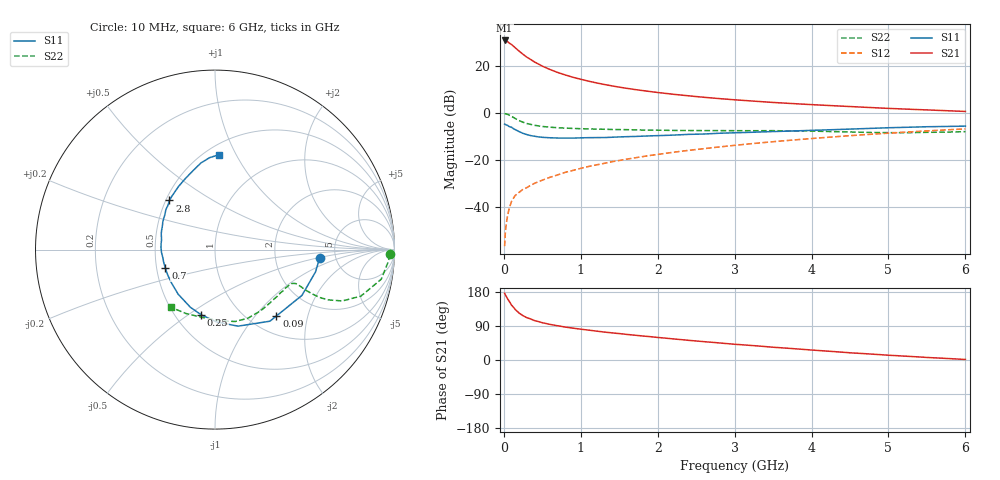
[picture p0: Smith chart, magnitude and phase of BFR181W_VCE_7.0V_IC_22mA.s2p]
! Infineon Technologies  Discrete & RF Semiconductors
! BFR181W
! VCE =  7.0 V,  IC =  22 mA
! Common Emitter S-Parameters:  Jan 2017
# GHz  S  MA  R  50
!  f  S11  S21  S12  S22
! GHz  MAG  ANG  MAG  ANG  MAG  ANG  MAG  ANG
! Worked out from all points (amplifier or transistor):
!   77 points, 10 MHz to 6 GHz, reference 50 ohm
!   highest |S21| = 30.8 dB at 10 MHz (marker M1)
!   |S21| within 3 dB of that: start of sweep to 145 MHz
!   unconditionally stable (mu >= 1): 658.9 MHz to 2.483 GHz
!   at 130 MHz: K = 0.42, MSG = 32.0 dB, |S12| = -35.9 dB
!   at 2.2 GHz: K = 1.03, MAG = 11.3 dB, |S12| = -16.6 dB
!   at 6 GHz: K = 0.82, MSG = 3.7 dB, |S12| = -6.7 dB
!   S11 on the Smith chart (normalised r, x): 10 MHz: 3.74, -0.53; 90 MHz: 1.31, -1.30; 250 MHz: 0.67, -0.56; 700 MHz: 0.56, -0.13; 2.8 GHz: 0.52, +0.33; 6 GHz: 0.58, +0.86
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0.01  0.5849 -4.6  34.77 176.0  0.0015 90.3  0.9754 -1.6
0.02  0.5737 -12.5  34.25 171.7  0.003 92.3  0.9692 -3.7
0.05  0.5475 -27.8  32.59 160.9  0.0068 78.7  0.9408 -10.1
0.09  0.5039 -47.3  29.13 148.3  0.012 72.0  0.8691 -16.1
0.1  0.5029 -52.5  28.52 144.7  0.0133 71.2  0.8528 -17.7
0.15  0.4452 -73.3  24.23 132.8  0.018 67.1  0.7635 -22.0
0.2  0.4036 -88.6  20.52 123.6  0.0209 65.8  0.6921 -23.9
0.25  0.3712 -102.0  17.64 116.8  0.0242 64.8  0.6399 -24.6
0.3  0.3496 -113.0  15.33 111.6  0.0263 64.3  0.6001 -24.5
0.4  0.3224 -129.5  12.1 103.9  0.0324 66.3  0.5499 -24.0
0.5  0.306 -141.9  9.923 98.4  0.0377 67.6  0.5204 -23.3
0.6  0.2995 -151.1  8.411 94.0  0.0435 68.9  0.5022 -23.0
0.7  0.2955 -159.4  7.276 90.3  0.0488 70.8  0.4886 -22.8
0.9  0.2945 -172.0  5.744 84.0  0.0608 71.9  0.4723 -23.5
1.1  0.301 178.3  4.764 78.9  0.0736 73.5  0.4622 -24.9
1.5  0.3121 163.6  3.554 69.7  0.0987 73.6  0.4467 -29.1
2.1  0.3363 147.4  2.621 57.7  0.1399 72.3  0.4311 -38.5
2.8  0.3735 132.8  2.031 45.0  0.1909 69.1  0.4248 -51.7
3.1  0.386 127.2  1.865 40.1  0.2147 67.1  0.4229 -57.3
4.1  0.4351 110.8  1.484 24.9  0.2968 59.8  0.4112 -76.5
5.1  0.4933 98.1  1.239 11.5  0.3834 50.5  0.3838 -102.4
6  0.529 87.6  1.083 1.4  0.4626 41.3  0.4045 -127.4
